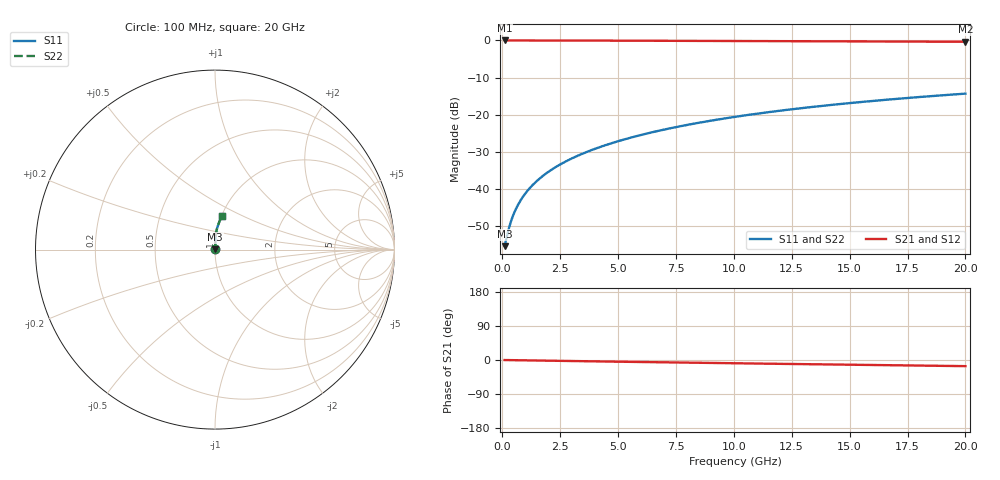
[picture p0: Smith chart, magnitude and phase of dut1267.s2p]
! Touchstone file exported from HFSS 2024.1.0
!  File:  C:/UserFiles/LocalFiles/RDL_TSV_Batchsim/temp_RDL_top_1267_1780242000.aedt
!  Generated:  11:42:40 PM May 31, 2026
!  Design:  RDL_top
!  Project:  temp_RDL_top_1267_1780242000
!  Setup:  Setup1
!  Solution:  Sweep
! Variables:
!  dtsv = 10.80580581um
!  hbump = 3um
!  htsv = 97.18um
!  ldown = 100um
!  lrdl = 169.57um
!  p = 40
!  p1 = 57.53um
!  rhole = 1um
!  t = 450um
!  tdown = 3.915915916um
!  trdl = 2.34um
!  wdown = 15.38538539um
!  wrdl = 23.81um
# GHz S MA R 50.000000
! Terminal data exported
! Port[1] = Box2_T1
! Port[2] = Box2_T2
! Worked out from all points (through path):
!   200 points, 100 MHz to 20 GHz, reference 50 ohm
!   highest |S21| = -0.01 dB at 100 MHz (marker M1); lowest = -0.4 dB at 20 GHz (marker M2)
!   group delay of S21, straight-line fit = 2.23 ps
!   lowest |S11| = -55.3 dB at 100 MHz (marker M3), VSWR 1.00, Z = 50.1 + j0.0917 ohm
!   |S11| at or under -10 dB: start of sweep to end of sweep
!   |S22| runs from -55.3 to -14.3 dB; largest |S21 - S12| = 4.5e-15
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0.1  0.001715 32.2  0.9985 -0.1  0.9985 -0.1  0.001715 32.2
! Gamma 0 0 0 0
! Port Impedance 50 0 50 0
0.2  0.002345 50.8  0.9985 -0.2  0.9985 -0.2  0.002345 50.8
0.3  0.003103 60.6  0.9984 -0.3  0.9984 -0.3  0.003103 60.6
0.4  0.0039 66.3  0.9984 -0.4  0.9984 -0.4  0.0039 66.3
0.5  0.00471 70.1  0.9983 -0.5  0.9983 -0.5  0.00471 70.1
0.6  0.005523 72.8  0.9982 -0.6  0.9982 -0.6  0.005523 72.8
0.8  0.007156 76.5  0.9981 -0.7  0.9981 -0.7  0.007156 76.5
1.1  0.009626 79.9  0.9979 -1.0  0.9979 -1.0  0.009626 79.9
1.3  0.01129 81.4  0.9977 -1.2  0.9977 -1.2  0.01129 81.4
1.6  0.01381 83.1  0.9975 -1.5  0.9975 -1.5  0.01381 83.1
2.1  0.01806 85.0  0.997 -1.9  0.997 -1.9  0.01806 85.0
2.7  0.02326 86.4  0.9963 -2.5  0.9963 -2.5  0.02326 86.4
3.5  0.03035 87.5  0.9951 -3.2  0.9951 -3.2  0.03035 87.5
4.2  0.03671 88.1  0.994 -3.8  0.994 -3.8  0.03671 88.1
5  0.04415 88.4  0.9925 -4.5  0.9925 -4.5  0.04415 88.4
5.9  0.05271 88.4  0.9907 -5.2  0.9907 -5.2  0.05271 88.4
6.8  0.06145 88.2  0.9888 -6.0  0.9888 -6.0  0.06145 88.2
8.4  0.07729 87.5  0.9853 -7.3  0.9853 -7.3  0.0773 87.5
10.1  0.09439 86.4  0.9816 -8.7  0.9816 -8.7  0.09439 86.4
13.4  0.1277 83.7  0.9741 -11.2  0.9741 -11.2  0.1277 83.7
16.7  0.1605 80.8  0.9665 -13.7  0.9665 -13.7  0.1605 80.8
20  0.1926 77.9  0.9586 -16.2  0.9586 -16.2  0.1926 77.9
